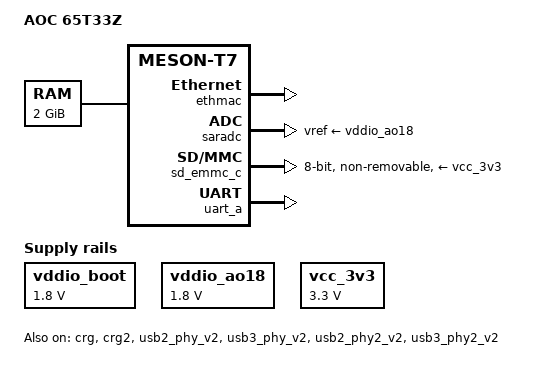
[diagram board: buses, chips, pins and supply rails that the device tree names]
// SPDX-License-Identifier: (GPL-2.0+ OR MIT)
/*
 * Copyright (c) 2021 Nick <nick@khadas.com>.
 */

/dts-v1/;

#include "meson-t7-txxx.dtsi"
#include "khadas-ts050-panel.dtsi"

/ {
	compatible = "aoc,65t33z","amlogic,t7-an400-lpddr4x", "amlogic,t7-txxx", "amlogic,meson-t7";
	model = "AOC 65T33Z";

	aliases {
		serial0 = &uart_a;
		serial1 = &uart_b;
		spi0 = &spifc;
		spi1 = &spicc0;
		spi2 = &spicc1;
		spi3 = &spicc2;
		spi4 = &spicc3;
		spi5 = &spicc4;
		spi6 = &spicc5;
		i2c0 = &i2c0;
		i2c1 = &i2c1;
		i2c2 = &i2c2;
		i2c3 = &i2c3;
		i2c4 = &i2c4;
		i2c5 = &i2c5;
		i2c6 = &i2c_AO_A;
		i2c7 = &i2c_AO_B;
	};

	chosen {
		stdout-path = "serial0:921600n8";
	};

	memory@0 {
		device_type = "memory";
		reg = <0x0 0x0 0x0 0x80000000>;
	};

	vddio_boot: regulator-vddio_boot {
		compatible = "regulator-fixed";
		regulator-name = "VDDIO_BOOT";
		regulator-min-microvolt = <1800000>;
		regulator-max-microvolt = <1800000>;
	};

	vddio_ao18: regulator-vddio_ao18 {
		compatible = "regulator-fixed";
		regulator-name = "VDDIO_AO18";
		regulator-min-microvolt = <1800000>;
		regulator-max-microvolt = <1800000>;
	};

	vcc_3v3: regulator-vcc_3v3 {
		compatible = "regulator-fixed";
		regulator-name = "VCC_3V3";
		regulator-min-microvolt = <3300000>;
		regulator-max-microvolt = <3300000>;
	};

	emmc_pwrseq: emmc-pwrseq {
		compatible = "mmc-pwrseq-emmc";
		/* reset-gpios = <&gpio BOOT_12 GPIO_ACTIVE_LOW>; */
	};

	tee: tee {
		compatible = "linaro,optee-tz";
		method = "smc";
	};
};

&ethmac {
	status = "okay";
	pinctrl-names = "external_eth_rgmii_pins";
	pinctrl-0 = <&external_eth_rgmii_pins>;
	internal_phy = <0>;
	mc_val = <0x1621>;
	cali_val = <0xa0000>;
};

&ir {
	status = "disabled";
	/* pinctrl-0 = <&remote_input_ao_pins>; */
	/* pinctrl-names = "default"; */
};

&pinctrl_periphs {
	bl_pwm_off_pins: bl_pwm_off_pin {
	};
};

&saradc {
	status = "okay";
	vref-supply = <&vddio_ao18>;
};

&amhdmitx {
	enc_idx = <2>; /* value can be 0 or 2 */
};

/* eMMC */
&sd_emmc_c {
	status = "okay";
	pinctrl-0 = <&emmc_pins>;
	pinctrl-names = "default";

	bus-width = <8>;
	cap-mmc-highspeed;
	mmc-hs200-1_8v;
	max-frequency = <200000000>;
	non-removable;
	disable-wp;
	/* mmc-ddr-1_8v; */
	card_type = <1>;

	init_co_phase = <2>;
	init_tx_phase = <0>;

	hs_co_phase = <2>;
	hs_to_phase = <0>;

	hs2_co_phase = <2>;
	hs2_to_phase = <0>;

	hw_reset = <&gpio GPIOB_9 GPIO_ACTIVE_HIGH>;

	mmc-pwrseq = <&emmc_pwrseq>;
	vmmc-supply = <&vcc_3v3>;
	vqmmc-supply = <&vddio_boot>;
};

&crg {
	status = "okay";
	dr_mode = "host";
};

&crg2 {
	status = "okay";
	dr_mode = "host";
};

&usb2_phy_v2 {
	status = "okay";
	portnum = <1>;
};

&usb3_phy_v2 {
	status = "okay";
	portnum = <0>;
};

&usb2_phy2_v2 {
	status = "okay";
	portnum = <1>;
};

/*
 * Do not turn on USB OTG power supply,
 * because it is used for image burning.
 */
&usb3_phy2_v2 {
	status = "okay";
	portnum = <0>;
	/* gpio-vbus-power = "GPIOY_16"; */
	/* gpios = <&gpio GPIOY_16 GPIO_ACTIVE_HIGH>; */
};

/* Debug */
&uart_a {
	status = "okay";
};
